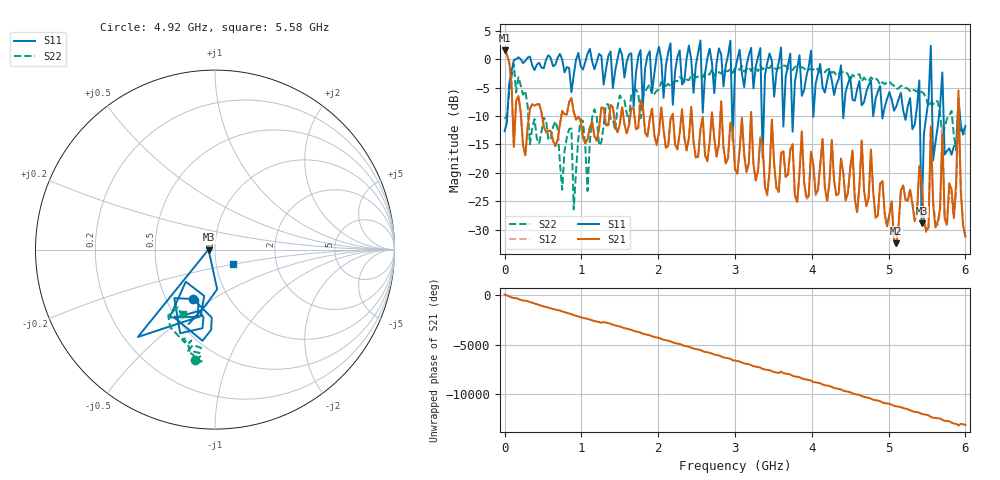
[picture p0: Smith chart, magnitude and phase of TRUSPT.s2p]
!Keysight Technologies N9916A: A.08.06
!Date: Thursday, 30 May 2024 20:30:48
!Timezone: (GMT+10:00) Brisbane
!Model: N9916A
!Serial: MY53102361
!GPS Latitude:
!GPS Longitude:
!GPS TimeStamp: 0001-01-01 00:00:00Z
!GPS Seconds Since Last Read: 0
!CHECKSUM:1120132189
!Correction: S11(ON U)S21(ON U)S12(ON U)S22(ON U)
!S2P File: Measurements:S11,S21,S12,S22:
# Hz S DB R 50
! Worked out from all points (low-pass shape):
!   201 points, 30 kHz to 6 GHz, reference 50 ohm
!   highest |S21| = 1.57 dB at 30 kHz (marker M1); lowest = -32.4 dB at 5.1 GHz (marker M2)
!   |S21| within 3 dB of the highest: start of sweep to 67.02 MHz
!   lowest |S11| = -28.9 dB at 5.43 GHz (marker M3), VSWR 1.07, Z = 46.5 + j0.0346 ohm
!   |S11| at or under -10 dB: 5.407 GHz to 5.491 GHz (83.78 MHz wide, 1.54 % of centre); 5.568 GHz to 5.656 GHz (87.33 MHz wide, 1.56 % of centre); 5.716 GHz to 5.899 GHz (182.9 MHz wide, 3.15 % of centre) (the widest 3 of 15)
!   |S22| runs from -26.4 to -0.9 dB; largest |S21 - S12| = 0.19
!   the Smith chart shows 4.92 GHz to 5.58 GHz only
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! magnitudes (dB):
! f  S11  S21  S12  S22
! 30 kHz  -12.7  1.6  1.9  -10.5
! 120 MHz  -0.2  -15.4  -15.5  -0.9
! 870 MHz  -5.8  -6.8  -6.8  -12.2
! 900 MHz  -2.8  -9.3  -9.2  -26.4
! 1.02 GHz  -1.8  -13.7  -13.6  -10.9
! 1.08 GHz  0.9  -14.1  -14.2  -23.2
! 1.17 GHz  -1.8  -13.6  -13.6  -8.8
! 2.01 GHz  2.1  -12.9  -13.0  -5.4
! 3 GHz  -2.1  -19.3  -19.3  -1.6
! 4.02 GHz  -10.2  -18.6  -18.6  -1.9
! 5.01 GHz  -5.8  -27.3  -27.3  -3.9
! 5.1 GHz  -8.3  -32.4  -32.9  -5.3
! 5.4 GHz  -3.8  -18.9  -18.8  -5.3
! 5.43 GHz  -28.9  -21.6  -21.5  -5.8
! 5.52 GHz  -7.2  -29.5  -29.7  -8.4
! 5.55 GHz  2.3  -11.8  -12.0  -7.6
! 5.58 GHz  -17.8  -25.5  -24.8  -7.9
! 5.7 GHz  -2.3  -13.2  -12.0  -13.7
! 5.73 GHz  -16.8  -28.0  -27.9  -12.0
! 5.85 GHz  -15.3  -27.8  -28.0  -13.5
! 5.91 GHz  -6.9  -5.5  -9.2  -11.6
! 6 GHz  -11.8  -31.2  -31.3  -13.2
